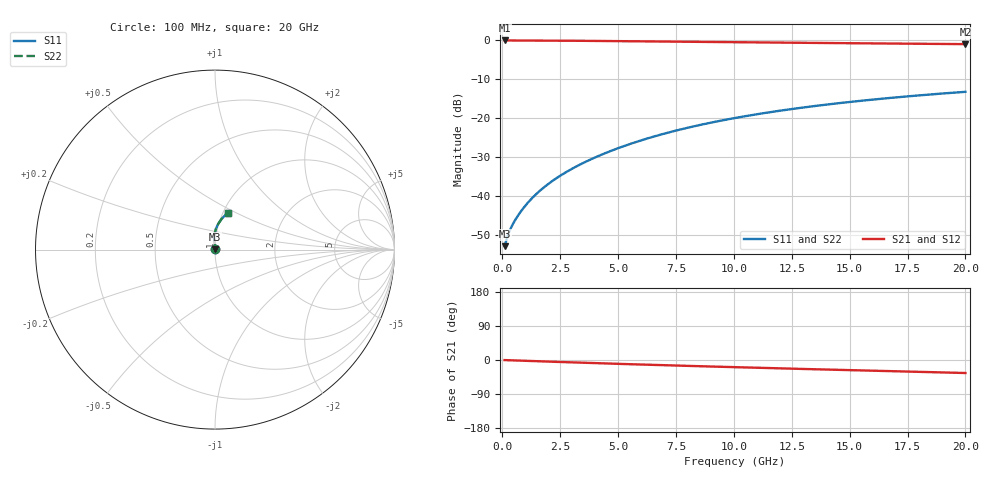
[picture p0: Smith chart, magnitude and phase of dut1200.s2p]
! Touchstone file exported from HFSS 2024.1.0
!  File:  C:/UserFiles/LocalFiles/RDL_TSV_Batchsim/temp_RDL_bottom_1200_1780243247.aedt
!  Generated:  12:02:54 AM Jun  1, 2026
!  Design:  RDL_bottom
!  Project:  temp_RDL_bottom_1200_1780243247
!  Setup:  Setup1
!  Solution:  Sweep
! Variables:
!  dtsv = 10.80580581um
!  hbump = 3um
!  htsv = 85.25um
!  ldown = 561.38um
!  lrdl = 100um
!  p = 40
!  p1 = 42.7um
!  rhole = 1um
!  t = 450um
!  tdown = 3.96um
!  trdl = 3.915915916um
!  wdown = 28.11um
!  wrdl = 20um
# GHz S MA R 50.000000
! Terminal data exported
! Port[1] = RDL1_T1
! Port[2] = RDL1_T2
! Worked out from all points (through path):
!   200 points, 100 MHz to 20 GHz, reference 50 ohm
!   highest |S21| = -0.02 dB at 100 MHz (marker M1); lowest = -1.0 dB at 20 GHz (marker M2)
!   group delay of S21, straight-line fit = 4.69 ps
!   lowest |S11| = -52.9 dB at 100 MHz (marker M3), VSWR 1.00, Z = 50.2 + j0.098 ohm
!   |S11| at or under -10 dB: start of sweep to end of sweep
!   |S22| runs from -52.9 to -13.2 dB; largest |S21 - S12| = 2.3e-15
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0.1  0.00227 25.4  0.9979 -0.2  0.9979 -0.2  0.00227 25.4
! Gamma 0 0 0 0
! Port Impedance 50 0 50 0
0.2  0.002881 38.9  0.9977 -0.5  0.9977 -0.5  0.002881 38.9
0.3  0.003485 46.3  0.9975 -0.7  0.9975 -0.7  0.003485 46.3
0.4  0.004052 51.8  0.9973 -0.9  0.9973 -0.9  0.004052 51.8
0.5  0.004607 56.3  0.9971 -1.1  0.9971 -1.1  0.004608 56.3
0.8  0.006331 66.5  0.9966 -1.7  0.9966 -1.7  0.006332 66.4
1  0.007556 71.3  0.9962 -2.1  0.9962 -2.1  0.007556 71.3
1.2  0.008836 75.1  0.9958 -2.5  0.9958 -2.5  0.008836 75.0
1.7  0.01224 81.7  0.9945 -3.6  0.9945 -3.6  0.01224 81.7
2.2  0.01591 86.0  0.9929 -4.6  0.9929 -4.6  0.01591 86.0
2.8  0.02065 89.5  0.9905 -5.8  0.9905 -5.8  0.02065 89.5
3.5  0.02667 92.2  0.9871 -7.2  0.9871 -7.2  0.02666 92.1
4.2  0.03318 93.7  0.9833 -8.6  0.9833 -8.6  0.03317 93.7
5  0.0412 94.6  0.9786 -10.1  0.9786 -10.1  0.04119 94.6
5.9  0.05087 94.8  0.973 -11.8  0.973 -11.8  0.05086 94.8
6.8  0.0611 94.3  0.9673 -13.4  0.9673 -13.4  0.06108 94.3
8.4  0.08023 92.4  0.9572 -16.2  0.9572 -16.2  0.0802 92.3
10.1  0.1013 89.5  0.9469 -19.0  0.9469 -19.0  0.1013 89.5
11.7  0.1213 86.5  0.9376 -21.6  0.9376 -21.6  0.1212 86.5
13.4  0.1423 83.1  0.9282 -24.3  0.9282 -24.3  0.1423 83.1
16.7  0.1817 76.6  0.9112 -29.4  0.9112 -29.4  0.1816 76.6
20  0.2184 70.4  0.8952 -34.3  0.8952 -34.3  0.2183 70.3
